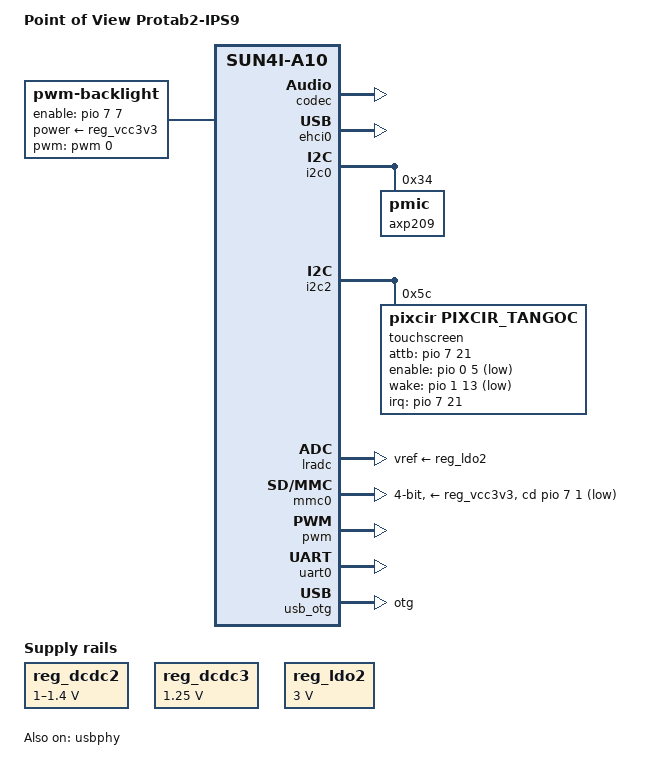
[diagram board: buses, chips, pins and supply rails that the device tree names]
/*
 * Copyright 2015 Hans de Goede <hdegoede@redhat.com>
 *
 * This file is dual-licensed: you can use it either under the terms
 * of the GPL or the X11 license, at your option. Note that this dual
 * licensing only applies to this file, and not this project as a
 * whole.
 *
 *  a) This file is free software; you can redistribute it and/or
 *     modify it under the terms of the GNU General Public License as
 *     published by the Free Software Foundation; either version 2 of the
 *     License, or (at your option) any later version.
 *
 *     This file is distributed in the hope that it will be useful,
 *     but WITHOUT ANY WARRANTY; without even the implied warranty of
 *     MERCHANTABILITY or FITNESS FOR A PARTICULAR PURPOSE.  See the
 *     GNU General Public License for more details.
 *
 * Or, alternatively,
 *
 *  b) Permission is hereby granted, free of charge, to any person
 *     obtaining a copy of this software and associated documentation
 *     files (the "Software"), to deal in the Software without
 *     restriction, including without limitation the rights to use,
 *     copy, modify, merge, publish, distribute, sublicense, and/or
 *     sell copies of the Software, and to permit persons to whom the
 *     Software is furnished to do so, subject to the following
 *     conditions:
 *
 *     The above copyright notice and this permission notice shall be
 *     included in all copies or substantial portions of the Software.
 *
 *     THE SOFTWARE IS PROVIDED "AS IS", WITHOUT WARRANTY OF ANY KIND,
 *     EXPRESS OR IMPLIED, INCLUDING BUT NOT LIMITED TO THE WARRANTIES
 *     OF MERCHANTABILITY, FITNESS FOR A PARTICULAR PURPOSE AND
 *     NONINFRINGEMENT. IN NO EVENT SHALL THE AUTHORS OR COPYRIGHT
 *     HOLDERS BE LIABLE FOR ANY CLAIM, DAMAGES OR OTHER LIABILITY,
 *     WHETHER IN AN ACTION OF CONTRACT, TORT OR OTHERWISE, ARISING
 *     FROM, OUT OF OR IN CONNECTION WITH THE SOFTWARE OR THE USE OR
 *     OTHER DEALINGS IN THE SOFTWARE.
 */

/dts-v1/;
#include "sun4i-a10.dtsi"
#include "sunxi-common-regulators.dtsi"
#include <dt-bindings/gpio/gpio.h>
#include <dt-bindings/input/input.h>
#include <dt-bindings/interrupt-controller/irq.h>
#include <dt-bindings/pwm/pwm.h>

/ {
	model = "Point of View Protab2-IPS9";
	compatible = "pov,protab2-ips9", "allwinner,sun4i-a10";

	aliases {
		serial0 = &uart0;
	};

	backlight: backlight {
		compatible = "pwm-backlight";
		pwms = <&pwm 0 50000 PWM_POLARITY_INVERTED>;
		brightness-levels = <0 10 20 30 40 50 60 70 80 90 100>;
		default-brightness-level = <8>;
		enable-gpios = <&pio 7 7 GPIO_ACTIVE_HIGH>; /* PH7 */
		power-supply = <&reg_vcc3v3>;
	};

	chosen {
		stdout-path = "serial0:115200n8";
	};
};

&codec {
	allwinner,pa-gpios = <&pio 7 15 GPIO_ACTIVE_HIGH>; /* PH15 */
	status = "okay";
};

&cpu0 {
	cpu-supply = <&reg_dcdc2>;
};

&ehci0 {
	status = "okay";
};

&i2c0 {
	status = "okay";

	axp209: pmic@34 {
		reg = <0x34>;
		interrupts = <0>;
	};
};

#include "axp209.dtsi"

&i2c1 {
	/* pull-ups and devices require AXP209 LDO3 */
	status = "failed";
};

&i2c2 {
	status = "okay";

	touchscreen@5c {
		compatible = "pixcir,pixcir_tangoc";
		reg = <0x5c>;
		interrupt-parent = <&pio>;
		interrupts = <7 21 IRQ_TYPE_EDGE_FALLING>; /* EINT21 (PH21) */
		attb-gpio = <&pio 7 21 GPIO_ACTIVE_HIGH>; /* PH21 */
		enable-gpios = <&pio 0 5 GPIO_ACTIVE_LOW>;
		wake-gpios = <&pio 1 13 GPIO_ACTIVE_LOW>;
		touchscreen-size-x = <1024>;
		touchscreen-size-y = <768>;
		touchscreen-inverted-x;
		touchscreen-inverted-y;
	};
};

&lradc {
	vref-supply = <&reg_ldo2>;
	status = "okay";

	button-400 {
		label = "Volume Up";
		linux,code = <KEY_VOLUMEUP>;
		channel = <0>;
		voltage = <400000>;
	};

	button-800 {
		label = "Volume Down";
		linux,code = <KEY_VOLUMEDOWN>;
		channel = <0>;
		voltage = <800000>;
	};
};

&mmc0 {
	vmmc-supply = <&reg_vcc3v3>;
	bus-width = <4>;
	cd-gpios = <&pio 7 1 GPIO_ACTIVE_LOW>; /* PH1 */
	status = "okay";
};

&otg_sram {
	status = "okay";
};

&pwm {
	pinctrl-names = "default";
	pinctrl-0 = <&pwm0_pin>;
	status = "okay";
};

&reg_dcdc2 {
	regulator-always-on;
	regulator-min-microvolt = <1000000>;
	regulator-max-microvolt = <1400000>;
	regulator-name = "vdd-cpu";
};

&reg_dcdc3 {
	regulator-always-on;
	regulator-min-microvolt = <1250000>;
	regulator-max-microvolt = <1250000>;
	regulator-name = "vdd-int-dll";
};

&reg_ldo1 {
	regulator-name = "vdd-rtc";
};

&reg_ldo2 {
	regulator-always-on;
	regulator-min-microvolt = <3000000>;
	regulator-max-microvolt = <3000000>;
	regulator-name = "avcc";
};

&reg_usb0_vbus {
	status = "okay";
};

&reg_usb1_vbus {
	status = "okay";
};

&uart0 {
	pinctrl-names = "default";
	pinctrl-0 = <&uart0_pb_pins>;
	status = "okay";
};

&usb_otg {
	dr_mode = "otg";
	status = "okay";
};

&usbphy {
	usb0_id_det-gpios = <&pio 7 4 (GPIO_ACTIVE_HIGH | GPIO_PULL_UP)>; /* PH4 */
	usb0_vbus_det-gpios = <&pio 7 5 (GPIO_ACTIVE_HIGH | GPIO_PULL_DOWN)>; /* PH5 */
	usb0_vbus-supply = <&reg_usb0_vbus>;
	usb1_vbus-supply = <&reg_usb1_vbus>;
	status = "okay";
};
